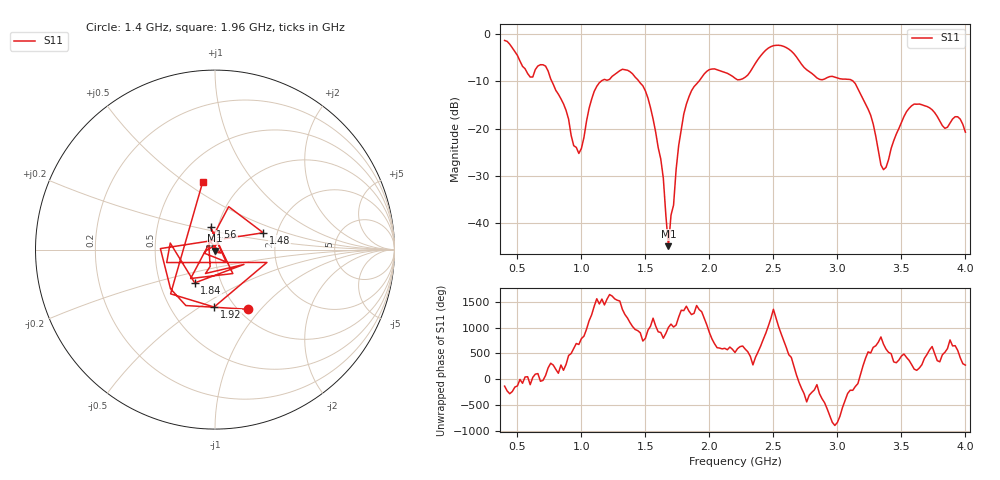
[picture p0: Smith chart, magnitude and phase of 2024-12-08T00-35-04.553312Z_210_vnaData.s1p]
!Created with skrf (http://scikit-rf.org).
# Hz S RI R 50.0
!freq ReS11 ImS11
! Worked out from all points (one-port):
!   181 points, 400 MHz to 4 GHz, reference 50 ohm
!   lowest |S11| = -44.9 dB at 1.68 GHz (marker M1), VSWR 1.01, Z = 50.1 - j0.554 ohm
!   |S11| at or under -10 dB: 769.6 MHz to 1.152 GHz (382.3 MHz wide, 39.8 % of centre); 1.451 GHz to 1.917 GHz (466.1 MHz wide, 27.7 % of centre); 3.125 GHz to end of sweep
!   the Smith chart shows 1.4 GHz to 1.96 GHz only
!   S11 on the Smith chart (normalised r, x): 1.4 GHz: 1.10, -0.86; 1.48 GHz: 1.69, +0.35; 1.56 GHz: 0.92, +0.23; 1.84 GHz: 0.75, -0.29; 1.92 GHz: 0.81, -0.58; 1.96 GHz: 0.67, +0.58
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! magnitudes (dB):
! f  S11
! 400 MHz  -1.3
! 600 MHz  -9.1
! 720 MHz  -6.7
! 860 MHz  -14.7
! 980 MHz  -25.3
! 1.1 GHz  -12.1
! 1.3 GHz  -7.7
! 1.4 GHz  -8.4
! 1.48 GHz  -10.9
! 1.56 GHz  -18.0
! 1.64 GHz  -30.5
! 1.68 GHz  -44.9
! 1.76 GHz  -23.6
! 1.84 GHz  -13.3
! 1.92 GHz  -9.9
! 1.96 GHz  -8.4
! 2.2 GHz  -9.3
! 2.48 GHz  -2.6
! 2.66 GHz  -4.1
! 2.86 GHz  -9.5
! 3.1 GHz  -9.6
! 3.26 GHz  -17.1
! 3.36 GHz  -28.7
! 3.56 GHz  -15.7
! 3.72 GHz  -15.6
! 3.84 GHz  -19.9
! 3.94 GHz  -17.5
! 4 GHz  -20.7
